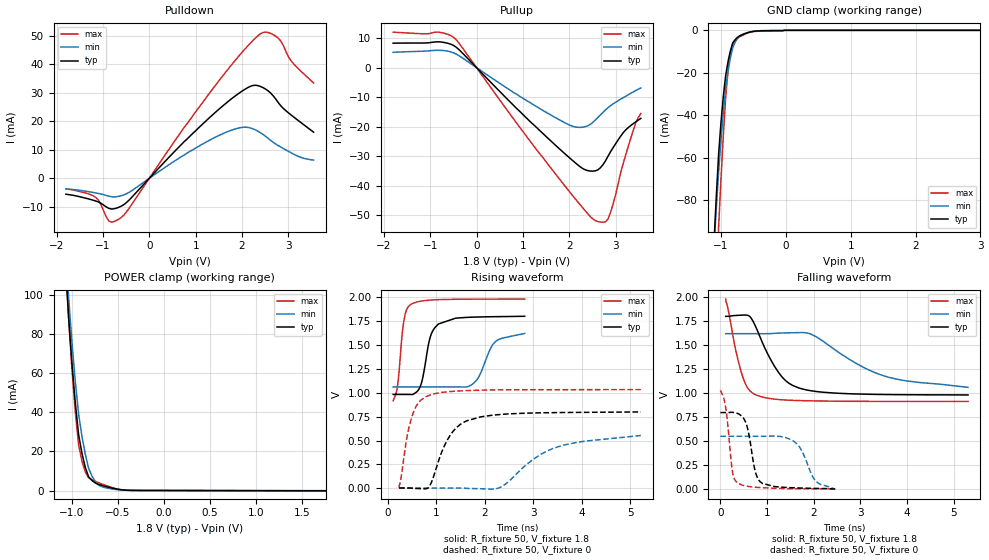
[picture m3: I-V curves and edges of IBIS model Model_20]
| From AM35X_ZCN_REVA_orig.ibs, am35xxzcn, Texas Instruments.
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| Model based on original model for BC1833DV65ATPBFHP18LL_7LM_X50
|   Sub model LL_7LM_X50_PU_ON_1P8
[model]   Model_20
|[Description]  1.8V-I/O-PU-X
|[Input Load]   PU
|[Output Drive]
|Voltage   1.8V
|Mode   I/O
Model_type   I/O
Polarity   Non-Inverting
Enable   Active-Low
Vinl =  0.63V
Vinh =  1.17V
Cref =  15pF
Rref =  100.0000M
Vref =  0V
Vmeas =  0.9
C_comp   1.827006p   1.710031p   1.865433p
[Model Spec]
Vinl   0.63V   0.567V   0.693V
Vinh   1.17V   1.053V   1.287V
[Temperature Range]   25   125   -40
[Voltage Range]   1.8   1.62   1.98
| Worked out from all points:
|   slope of the pulldown table from 0 to 0.27 V, typ, clamps not added: 57.3 ohm
|   slope of the pullup table from 0 to 0.27 V, typ, clamps not added: 61.7 ohm
|   GND clamp passes 1 mA (typ) near -0.57 V on its own axis
|   POWER clamp passes 1 mA (typ) near -0.54 V on its own axis
|   rising waveform, R_fixture 50, V_fixture 1.8: 20-80 % time 201ps typ, 289ps min, 122ps max; typ from 0.983 V to 1.8 V
|   rising waveform, R_fixture 50, V_fixture 0: 20-80 % time 459ps typ, 986ps min, 252ps max; typ from 0.004 V to 0.799 V
|   falling waveform, R_fixture 50, V_fixture 1.8: 20-80 % time 561ps typ, 1.26ns min, 303ps max; typ from 1.8 V to 0.983 V
|   falling waveform, R_fixture 50, V_fixture 0: 20-80 % time 182ps typ, 311ps min, 129ps max; typ from 0.799 V to 0.004 V
[POWER_clamp]
-1.8V     828.5mA    859.7mA    895.2mA
-1.073V   117.3mA    126.6mA    120.8mA
-1.036V   88.78mA    98.87mA    88.68mA
-1V       65.12mA    75.91mA    62.17mA
-963.6mV  45.05mA    55.96mA    40.38mA
-927.3mV  28.56mA    39.03mA    23.3mA
-890.9mV  19.01mA    27.76mA    15.05mA
-854.5mV  11.81mA    18.53mA    9.448mA
-818.2mV  6.953mA    11.37mA    6.504mA
-709.1mV  3.098mA    2.696mA    3.982mA
-381.8mV  87.97uA    68.36uA    88.99uA
1.764V    -143.5uA   -80.05uA   -225.9uA
[Pulldown]
-1.8V     -5.591mA   -3.681mA   -3.662mA
-1.145V   -8.02mA    -5.175mA   -6.828mA
-872.7mV  -10.55mA   -6.291mA   -14.99mA
-600mV    -9.724mA   -6.096mA   -13.67mA
709.1mV   12.12mA    7.769mA    16.82mA
1.636V    26.06mA    15.99mA    36.98mA
1.964V    30.14mA    17.75mA    43.45mA
2.182V    32.24mA    17.64mA    47.38mA
2.455V    31.77mA    15.36mA    51.13mA
2.782V    26.55mA    11.48mA    49.14mA
3.055V    22.26mA    8.979mA    41.29mA
3.545V    16.16mA    6.369mA    33.41mA
[Pullup]
-1.8V     8.287mA    5.179mA    12.01mA
-818.2mV  8.728mA    5.865mA    12.02mA
-490.9mV  7.457mA    4.972mA    10.2mA
2.018V    -30.72mA   -19.53mA   -42.27mA
2.345V    -34.62mA   -20.02mA   -48.5mA
2.618V    -34.65mA   -16.89mA   -52.16mA
2.836V    -30.05mA   -13.59mA   -51.32mA
2.945V    -27.15mA   -12.31mA   -46.28mA
3.164V    -22.09mA   -10.2mA    -32.55mA
3.327V    -19.63mA   -8.709mA   -23.98mA
3.436V    -18.37mA   -7.753mA   -18.75mA
3.545V    -17.2mA    -6.896mA   -15.57mA
[GND_clamp]
-1.8V     -653mA     -527.8mA   -1.091A
-1.109V   -101mA     -102.8mA   -157.9mA
-1.073V   -78.84mA   -84.44mA   -123.3mA
-1.036V   -58.49mA   -66.9mA    -92.93mA
-1V       -43.52mA   -51.87mA   -70.14mA
-927.3mV  -21.22mA   -26.99mA   -31.46mA
-890.9mV  -14.72mA   -19.19mA   -19.23mA
-854.5mV  -9.634mA   -12.93mA   -10.75mA
-818.2mV  -5.973mA   -8.196mA   -6.035mA
-709.1mV  -2.583mA   -2.575mA   -3.081mA
-18.18mV  0A         0A         0A
3.6V      0A         0A         0A
[Ramp]
dV/dt_f 0.49878411/0.56372952n 0.34194937/1.2687198n 0.64649691/0.30470616n
dV/dt_r 0.48282216/0.45653049n 0.33686185/0.98357n   0.62050877/0.25251376n
R_load = 50
[Rising Waveform]
R_fixture = 50
V_fixture = 1.8
V_fixture_min = 1.62
V_fixture_max = 1.98
109.2ps   982.5mV    1.062V     915.1mV
202.9ps   982.5mV    1.062V     1.084V
332.6ps   982.4mV    1.062V     1.758V
445.5ps   982.2mV    1.062V     1.913V
673ps     1.072V     1.062V     1.957V
874.5ps   1.582V     1.062V     1.969V
1.043ns   1.719V     1.062V     1.974V
1.725ns   1.79V      1.083V     1.979V
2.202ns   1.796V     1.527V     1.98V
2.824ns   1.8V       1.62V      1.98V
[Rising Waveform]
R_fixture = 50
V_fixture = 0
V_fixture_min = 0
V_fixture_max = 0
232.3ps   3.88mV     2.308mV    5.718mV
391.4ps   3.602mV    2.308mV    525.4mV
490.9ps   2.007mV    2.308mV    738.7mV
626.8ps   -2.413mV   2.309mV    893.2mV
836.8ps   8.124mV    2.309mV    969.1mV
1.23ns    507.7mV    2.313mV    1.01V
1.63ns    706.6mV    -613.5uV   1.022V
2.32ns    772.5mV    10.97mV    1.03V
3.492ns   792.5mV    432.3mV    1.032V
5.218ns   799.3mV    552.8mV    1.032V
[Falling Waveform]
R_fixture = 50
V_fixture = 1.8
V_fixture_min = 1.62
V_fixture_max = 1.98
114.5ps   1.8V       1.62V      1.98V
325.9ps   1.809V     1.62V      1.456V
465.3ps   1.813V     1.62V      1.192V
633.8ps   1.797V     1.62V      1.025V
786.6ps   1.66V      1.62V      978.3mV
1.248ns   1.215V     1.626V     934.9mV
1.681ns   1.055V     1.631V     924.1mV
1.987ns   1.023V     1.604V     920.8mV
3.43ns    987.6mV    1.193V     915.6mV
5.305ns   982.5mV    1.062V     915.1mV
[Falling Waveform]
R_fixture = 50
V_fixture = 0
V_fixture_min = 0
V_fixture_max = 0
0s        799.3mV    552.8mV    1.032V
110.5ps   799.7mV    552.7mV    863.2mV
252.8ps   801.7mV    552.8mV    205mV
342.1ps   795.2mV    552.8mV    78.66mV
552.5ps   683.9mV    552.8mV    34.64mV
739.7ps   202.4mV    552.7mV    22.76mV
853.6ps   79.16mV    552.6mV    18.87mV
1.574ns   16.44mV    500.2mV    7.545mV
2.03ns    10.19mV    94.14mV    6.226mV
2.459ns   3.88mV     2.308mV    5.718mV
